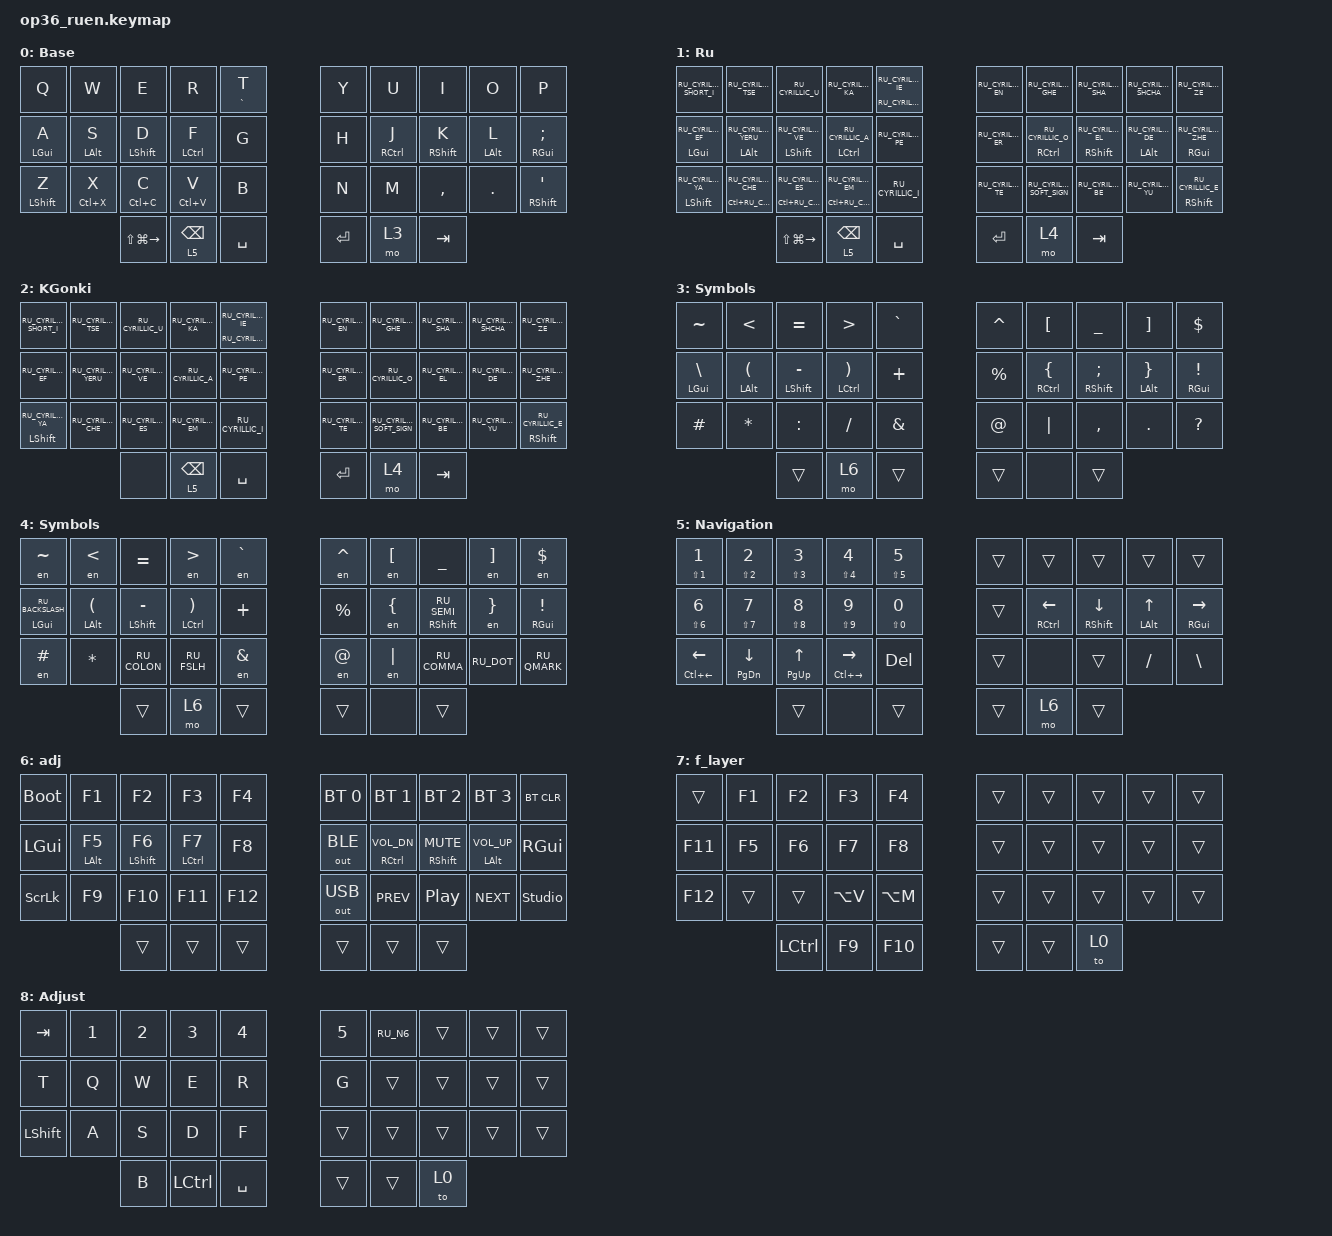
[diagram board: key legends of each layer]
#include "keys_ru.h"
#include "keys_ru.h"
#include <behaviors.dtsi>
#include <dt-bindings/zmk/bt.h>
#include <dt-bindings/zmk/keys.h>
#include <dt-bindings/zmk/outputs.h>

&mt {
    quick-tap-ms = <200>;
    flavor = "tap-preferred";
    require-prior-idle-ms = <125>;
};

/ {
    behaviors {
        hml: home_row_mod_left {
            compatible = "zmk,behavior-hold-tap";
            #binding-cells = <2>;
            flavor = "balanced";
            require-prior-idle-ms = <150>;
            tapping-term-ms = <280>;
            quick-tap-ms = <175>;
            bindings = <&kp>, <&kp>;

            hold-trigger-key-positions = <5 6 7 8 9 15 16 17 18 19 25 26 27 28 29 33 34 35>;
            hold-trigger-on-release;
        };

        hmr: home_row_mod_right {
            compatible = "zmk,behavior-hold-tap";
            #binding-cells = <2>;
            flavor = "balanced";
            require-prior-idle-ms = <150>;
            tapping-term-ms = <280>;
            quick-tap-ms = <175>;
            bindings = <&kp>, <&kp>;

            hold-trigger-key-positions = <0 1 2 3 4 10 11 12 13 14 20 21 22 23 24 30 31 32>;
            hold-trigger-on-release;
        };
    };

    combos {
        compatible = "zmk,combos";

        kha {
            bindings = <&kp RU_CYRILLIC_HA>;
            key-positions = <6 7>;
            layers = <1 2>;
        };

        hrdsgn {
            bindings = <&kp RU_CYRILLIC_HARD_SIGN>;
            key-positions = <7 8>;
            layers = <1 2>;
        };

        cmben {
            bindings = <&layer_en>;
            key-positions = <2 1>;
            layers = <1>;
        };

        cmbru {
            bindings = <&layer_ru>;
            key-positions = <1 2>;
            layers = <0>;
        };

        comma_en {
            bindings = <&kp COMMA>;
            key-positions = <13 12>;
            layers = <0>;
        };

        comma_ru {
            bindings = <&kp RU_COMMA>;
            key-positions = <13 12>;
            layers = <1 2>;
        };

        dot_en {
            bindings = <&kp DOT>;
            key-positions = <12 11>;
            layers = <0>;
        };

        dot_ru {
            bindings = <&kp RU_DOT>;
            key-positions = <12 11>;
            layers = <1 2>;
        };

        mark_en {
            bindings = <&kp QMARK>;
            key-positions = <11 13>;
            layers = <0>;
        };

        mark_ru {
            bindings = <&kp RU_QMARK>;
            key-positions = <11 13>;
            layers = <1 2>;
        };

        esc {
            bindings = <&kp ESC>;
            key-positions = <1 0>;
        };

        equal {
            bindings = <&kp EQUAL>;
            key-positions = <22 23>;
        };

        minus {
            bindings = <&kp MINUS>;
            key-positions = <23 24>;
        };

        prtscrn {
            bindings = <&kp LA(T)>;
            key-positions = <3 4>;
        };

        f_layer {
            bindings = <&tog 7>;
            key-positions = <29 28>;
        };

        cs_layer {
            bindings = <&tog 8>;
            key-positions = <29 28 27>;
        };

        Semi_en {
            bindings = <&kp SEMICOLON>;
            key-positions = <16 17>;
            layers = <0>;
        };

        en_dvoetoch {
            bindings = <&kp LS(SEMICOLON)>;
            key-positions = <17 18>;
            layers = <0>;
        };

        ru_semicolon {
            bindings = <&kp RU_SEMICOLON>;
            key-positions = <17 16>;
            layers = <1 2>;
        };

        ru_dvoetoch {
            bindings = <&kp RU_COLON>;
            key-positions = <17 18>;
            layers = <1 2>;
        };

        klavagonki {
            bindings = <&tog 2>;
            key-positions = <30 35>;
        };

        en_vskl {
            bindings = <&kp RU_EXCL>;
            key-positions = <16 18>;
        };
    };

    macros {
        to_ru: to_ru {
            compatible = "zmk,behavior-macro";
            #binding-cells = <0>;
            bindings = <&kp LS(LC(N2))>;
            label = "TO_RU";
            wait-ms = <0>;
            tap-ms = <30>;
        };

        to_en: to_en {
            compatible = "zmk,behavior-macro";
            #binding-cells = <0>;
            bindings = <&kp LS(LC(N1))>;
            label = "TO_EN";
            wait-ms = <0>;
            tap-ms = <30>;
        };

        layer_en: layer_en {
            compatible = "zmk,behavior-macro";
            #binding-cells = <0>;
            bindings = <&to 0 &to_en>;
            label = "LAYER_EN";
            wait-ms = <0>;
            tap-ms = <30>;
        };

        layer_ru: layer_ru {
            compatible = "zmk,behavior-macro";
            #binding-cells = <0>;
            bindings = <&to 1 &to_ru>;
            label = "LAYER_RU";
            tap-ms = <30>;
            wait-ms = <0>;
        };

        en: en {
            compatible = "zmk,behavior-macro-one-param";
            #binding-cells = <1>;
            bindings =
                <&to_en>,
                <&macro_press>,
                <&macro_param_1to1 &kp MACRO_PLACEHOLDER>,
                <&macro_pause_for_release>,
                <&macro_release>,
                <&macro_param_1to1 &kp MACRO_PLACEHOLDER>,
                <&macro_tap>,
                <&to_ru>;

            label = "EN";
            wait-ms = <0>;
            tap-ms = <30>;
        };
    };

    keymap {
        compatible = "zmk,keymap";

        en {
            bindings = <
  &kp Q         &kp W        &kp E         &kp R                    &mt GRAVE T                              &kp Y  &kp U         &kp I         &kp O        &kp P
  &hml LGUI A   &hml LALT S  &hml LSHFT D  &hml LCTRL F             &kp G                                    &kp H  &hmr RCTRL J  &hmr RSHFT K  &hmr LALT L  &hmr RGUI SEMICOLON
  &hml LSHFT Z  &mt LC(X) X  &mt LC(C) C   &mt LC(V) V              &kp B                                    &kp N  &kp M         &kp COMMA     &kp DOT      &hmr RSHFT SQT
                                           &kp LS(LG(RIGHT_ARROW))  &lt 5 BACKSPACE  &kp SPACE    &kp ENTER  &mo 3  &kp TAB
            >;

            display-name = "Base";
        };

        ru {
            bindings = <
  &kp RU_CYRILLIC_SHORT_I    &kp RU_CYRILLIC_TSE                      &kp RU_CYRILLIC_U                      &kp RU_CYRILLIC_KA                     &mt RU_CYRILLIC_IO RU_CYRILLIC_IE                          &kp RU_CYRILLIC_EN  &kp RU_CYRILLIC_GHE        &kp RU_CYRILLIC_SHA        &kp RU_CYRILLIC_SHCHA     &kp RU_CYRILLIC_ZE
  &hml LGUI RU_CYRILLIC_EF   &hml LALT RU_CYRILLIC_YERU               &hml LSHFT RU_CYRILLIC_VE              &hml LCTRL RU_CYRILLIC_A               &kp RU_CYRILLIC_PE                                         &kp RU_CYRILLIC_ER  &hmr RCTRL RU_CYRILLIC_O   &hmr RSHFT RU_CYRILLIC_EL  &hmr LALT RU_CYRILLIC_DE  &hmr RGUI RU_CYRILLIC_ZHE
  &hml LSHFT RU_CYRILLIC_YA  &mt LC(RU_CYRILLIC_CHE) RU_CYRILLIC_CHE  &mt LC(RU_CYRILLIC_ES) RU_CYRILLIC_ES  &mt LC(RU_CYRILLIC_EM) RU_CYRILLIC_EM  &kp RU_CYRILLIC_I                                          &kp RU_CYRILLIC_TE  &kp RU_CYRILLIC_SOFT_SIGN  &kp RU_CYRILLIC_BE         &kp RU_CYRILLIC_YU        &hmr RSHFT RU_CYRILLIC_E
                                                                                                             &kp LS(LG(RIGHT))                      &lt 5 BACKSPACE                    &kp SPACE    &kp ENTER  &mo 4               &kp TAB
            >;

            display-name = "Ru";
        };

        Klavagonki {
            display-name = "KGonki";
            bindings = <
  &kp RU_CYRILLIC_SHORT_I    &kp RU_CYRILLIC_TSE   &kp RU_CYRILLIC_U   &kp RU_CYRILLIC_KA  &mt RU_CYRILLIC_IO RU_CYRILLIC_IE                          &kp RU_CYRILLIC_EN  &kp RU_CYRILLIC_GHE        &kp RU_CYRILLIC_SHA  &kp RU_CYRILLIC_SHCHA  &kp RU_CYRILLIC_ZE
  &kp RU_CYRILLIC_EF         &kp RU_CYRILLIC_YERU  &kp RU_CYRILLIC_VE  &kp RU_CYRILLIC_A   &kp RU_CYRILLIC_PE                                         &kp RU_CYRILLIC_ER  &kp RU_CYRILLIC_O          &kp RU_CYRILLIC_EL   &kp RU_CYRILLIC_DE     &kp RU_CYRILLIC_ZHE
  &hml LSHFT RU_CYRILLIC_YA  &kp RU_CYRILLIC_CHE   &kp RU_CYRILLIC_ES  &kp RU_CYRILLIC_EM  &kp RU_CYRILLIC_I                                          &kp RU_CYRILLIC_TE  &kp RU_CYRILLIC_SOFT_SIGN  &kp RU_CYRILLIC_BE   &kp RU_CYRILLIC_YU     &hmr RSHFT RU_CYRILLIC_E
                                                                       &none               &lt 5 BACKSPACE                    &kp SPACE    &kp ENTER  &mo 4               &kp TAB
            >;
        };

        sym_en {
            bindings = <
  &kp TILDE       &kp LT          &kp EQUAL         &kp GT           &kp GRAVE                    &kp CARET  &kp LBKT         &kp UNDER        &kp RBKT        &kp DLLR
  &hml LGUI BSLH  &hml LALT LPAR  &hml LSHFT MINUS  &hml LCTRL RPAR  &kp PLUS                     &kp PRCNT  &hmr RCTRL LBRC  &hmr RSHFT SEMI  &hmr LALT RBRC  &hmr RGUI EXCL
  &kp HASH        &kp STAR        &kp COLON         &kp FSLH         &kp AMPS                     &kp AT     &kp PIPE         &kp COMMA        &kp DOT         &kp QMARK
                                                    &trans           &mo 6      &trans    &trans  &none      &trans
            >;

            display-name = "Symbols";
        };

        sym_ru {
            bindings = <
  &en TILDE               &en LT          &kp EQUAL         &en GT           &en GRAVE                    &en CARET  &en LBKT  &kp UNDER           &en RBKT    &en DLLR
  &hml LGUI RU_BACKSLASH  &hml LALT LPAR  &hml LSHFT MINUS  &hml LCTRL RPAR  &kp PLUS                     &kp PRCNT  &en LBRC  &hmr RSHFT RU_SEMI  &en RBRC    &hmr RGUI EXCL
  &en HASH                &kp STAR        &kp RU_COLON      &kp RU_FSLH      &en AMPS                     &en AT     &en PIPE  &kp RU_COMMA        &kp RU_DOT  &kp RU_QMARK
                                                            &trans           &mo 6      &trans    &trans  &none      &trans
            >;

            display-name = "Symbols";
        };

        nav {
            bindings = <
  &mt LS(N1) N1                  &mt LS(N2) N2             &mt LS(N3) N3         &mt LS(N4) N4                    &mt LS(N5) N5                    &trans  &trans           &trans           &trans        &trans
  &mt LS(N6) N6                  &mt LS(N7) N7             &mt LS(N8) N8         &mt LS(N9) N9                    &mt LS(N0) N0                    &trans  &hmr RCTRL LEFT  &hmr RSHFT DOWN  &hmr LALT UP  &hmr RGUI RIGHT
  &mt LC(LEFT_ARROW) LEFT_ARROW  &mt PAGE_DOWN DOWN_ARROW  &mt PAGE_UP UP_ARROW  &mt LC(RIGHT_ARROW) RIGHT_ARROW  &kp DELETE                       &trans  &none            &trans           &kp FSLH      &kp BSLH
                                                                                 &trans                           &none          &trans    &trans  &mo 6   &trans
            >;

            display-name = "Navigation";
        };

        adj {
            bindings = <
  &bootloader     &kp F1        &kp F2         &kp F3         &kp F4                     &bt BT_SEL 0  &bt BT_SEL 1         &bt BT_SEL 2       &bt BT_SEL 3        &bt BT_CLR
  &kp LGUI        &hml LALT F5  &hml LSHFT F6  &hml LCTRL F7  &kp F8                     &out OUT_BLE  &hmr RCTRL C_VOL_DN  &hmr RSHFT C_MUTE  &hmr LALT C_VOL_UP  &kp RGUI
  &kp SCROLLLOCK  &kp F9        &kp F10        &kp F11        &kp F12                    &out OUT_USB  &kp C_PREV           &kp C_PP           &kp C_NEXT          &studio_unlock
                                               &trans         &trans   &trans    &trans  &trans        &trans
            >;
        };

        f_layer {
            bindings = <
  &trans   &kp F1  &kp F2  &kp F3            &kp F4                        &trans  &trans  &trans  &trans  &trans
  &kp F11  &kp F5  &kp F6  &kp F7            &kp F8                        &trans  &trans  &trans  &trans  &trans
  &kp F12  &trans  &trans  &kp LA(V)         &kp LA(M)                     &trans  &trans  &trans  &trans  &trans
                           &kp LEFT_CONTROL  &kp F9     &kp F10    &trans  &trans  &to 0
            >;
        };

        cs_layer {
            bindings = <
  &kp TAB     &kp N1  &kp N2  &kp N3  &kp N4                                 &kp NUMBER_5  &kp RU_N6  &trans  &trans  &trans
  &kp T       &kp Q   &kp W   &kp E   &kp R                                  &kp G         &trans     &trans  &trans  &trans
  &kp LSHIFT  &kp A   &kp S   &kp D   &kp F                                  &trans        &trans     &trans  &trans  &trans
                              &kp B   &kp LEFT_CONTROL  &kp SPACE    &trans  &trans        &to 0
            >;

            display-name = "Adjust";
        };
    };
};
